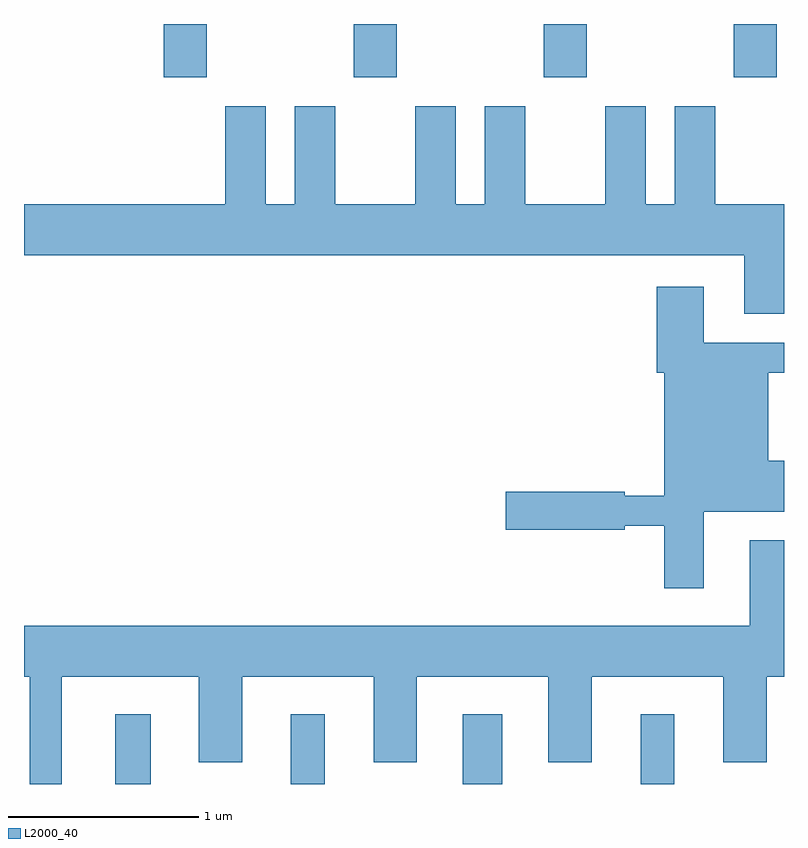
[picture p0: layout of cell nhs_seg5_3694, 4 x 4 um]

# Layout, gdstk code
import gdstk
lib = gdstk.Library(unit=1e-6, precision=1e-09)
def R(c, l, rs):  # rectangles x0, y0, x1, y1
    for r in rs: c.add(gdstk.rectangle(r[:2], r[2:], *l))
def A(c, l, x, y, w, h, nx, ny, dx, dy):  # array of equal rectangles
    R(c, l, [(x+i*dx, y+j*dy, x+i*dx+w, y+j*dy+h) for i in range(nx) for j in range(ny)])
def P(c, l, *ps):  # polygons
    for p in ps: c.add(gdstk.Polygon(p, *l))
L2000_40 = (2000, 40)

nhs_seg5_3694 = lib.new_cell('nhs_seg5_3694')
A(nhs_seg5_3694, L2000_40, 296.346, 1397.791, 0.228, 0.281, 4, 1, 1, 0)
R(nhs_seg5_3694, L2000_40, [(296.091,1394.072,296.279,1394.439), (297.016,1394.072,297.194,1394.439), (297.921,1394.072,298.129,1394.439), (298.856,1394.072,299.034,1394.439)])
P(nhs_seg5_3694, L2000_40, [(299.611,1397.124),(299.249,1397.124),(299.249,1397.639),(299.036,1397.639),(299.036,1397.124),(298.884,1397.124),(298.884,1397.639),(298.671,1397.639),(298.671,1397.124),(298.249,1397.124),(298.249,1397.639),(298.036,1397.639),(298.036,1397.124),(297.884,1397.124),(297.884,1397.639),(297.671,1397.639),(297.671,1397.124),(297.249,1397.124),(297.249,1397.639),(297.036,1397.639),(297.036,1397.124),(296.884,1397.124),(296.884,1397.639),(296.671,1397.639),(296.671,1397.124),(295.611,1397.124),(295.611,1396.856),(299.401,1396.856),(299.401,1396.546),(299.611,1396.546)],
  [(299.189,1395.506),(299.611,1395.506),(299.611,1395.774),(299.529,1395.774),(299.529,1396.236),(299.611,1396.236),(299.611,1396.394),(299.189,1396.394),(299.189,1396.689),(298.941,1396.689),(298.941,1396.236),(298.981,1396.236),(298.981,1395.589),(298.774,1395.589),(298.774,1395.609),(298.146,1395.609),(298.146,1395.411),(298.774,1395.411),(298.774,1395.431),(298.981,1395.431),(298.981,1395.101),(299.189,1395.101)],
  [(295.809,1394.636),(296.531,1394.636),(296.531,1394.186),(296.759,1394.186),(296.759,1394.636),(297.451,1394.636),(297.451,1394.186),(297.679,1394.186),(297.679,1394.636),(298.371,1394.636),(298.371,1394.186),(298.599,1394.186),(298.599,1394.636),(299.291,1394.636),(299.291,1394.186),(299.519,1394.186),(299.519,1394.636),(299.611,1394.636),(299.611,1395.354),(299.431,1395.354),(299.431,1394.904),(295.611,1394.904),(295.611,1394.636),(295.641,1394.636),(295.641,1394.072),(295.809,1394.072)])

lib.write_gds('nhs_seg5_3694.gds')
